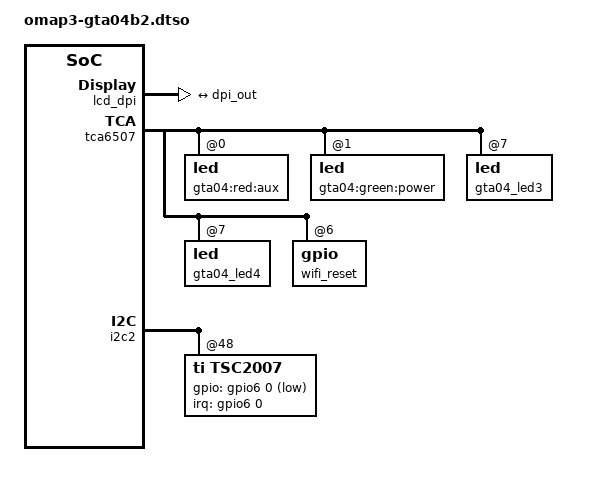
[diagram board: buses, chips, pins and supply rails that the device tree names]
/*
 * Copyright (C) 2014 H. Nikolaus Schaller <hns@goldelico.com>
 *
 * This program is free software; you can redistribute it and/or modify
 * it under the terms of the GNU General Public License version 2 as
 * published by the Free Software Foundation.
 */

/dts-v1/;
/plugin/;

#include <dt-bindings/gpio/gpio.h>
#include <dt-bindings/interrupt-controller/irq.h>

&{/} {
	model = "Goldelico GTA04b2/Letux 3704";

	aliases {
		display0 = <&lcd_dpi>;
	};

	lcd_dpi: lcd-dpi {
		compatible =    "ortustech,com37h3m05dtc",
				"ortustech,com37h3m99dtc",
				"panel-dpi";
		label = "lcd";
		enable-gpios = <&gpio1 20 0>;
		backlight = <&backlight>;

		port {
			lcd_dpi_in: endpoint {
				remote-endpoint = <&dpi_out>;
			};
		};
	};
};

&spi_lcd {
	status = "disabled";
};

&dpi_out {
	remote-endpoint = <&lcd_dpi_in>;
};

/* FIXME: add optional TRF7970 */
/*
&bat {
	battery-name = "Letux-7004-battery";
	energy-full-design-microwatt-hours = <14430000>;
	charge-full-design-microamp-hours = <3900000>;
};
*/

&tca6507 {
	#address-cells = <1>;
	#size-cells = <0>;

	gta04_led0: led@0 {
		compatible = "led";
		label = "gta04:red:aux";
		reg = <0x0>;
	};

	gta04_led1: led@1 {
		compatible = "led";
		label = "gta04:green:power";
		linux,default-trigger = "default-on";
		reg = <0x1>;
	};

	gta04_led3: led@3 {
		reg = <7>;
	};

	gta04_led4: led@4 {
		reg = <7>;
	};

	wifi_reset: led@6 { /* reference as <&tca_gpios 0 0> since it is currently the only GPIO */
		reg = <0x6>;
		compatible = "gpio";
	};

};

&i2c2 {
	/* touchscreen */
	tsc2007@48 {
		compatible = "ti,tsc2007";
		pinctrl-names = "default";
		pinctrl-0 = <&penirq_pins>;
		interrupt-parent = <&gpio6>;
		interrupts = <0 IRQ_TYPE_EDGE_FALLING>;
		gpios = <&gpio6 0 GPIO_ACTIVE_LOW>;     /* gpio160 */
		ti,x-plate-ohms = <450>;
		touchscreen-min-x = <190>;
		touchscreen-min-y = <140>;
		touchscreen-size-x = <3900>;
		touchscreen-size-y = <3900>;
		touchscreen-max-pressure = <1000>;
		touchscreen-fuzz-x = <2>;
		touchscreen-fuzz-y = <2>;
		touchscreen-fuzz-pressure = <10>;
		ti,max-rt = <1000>;
	};

};

